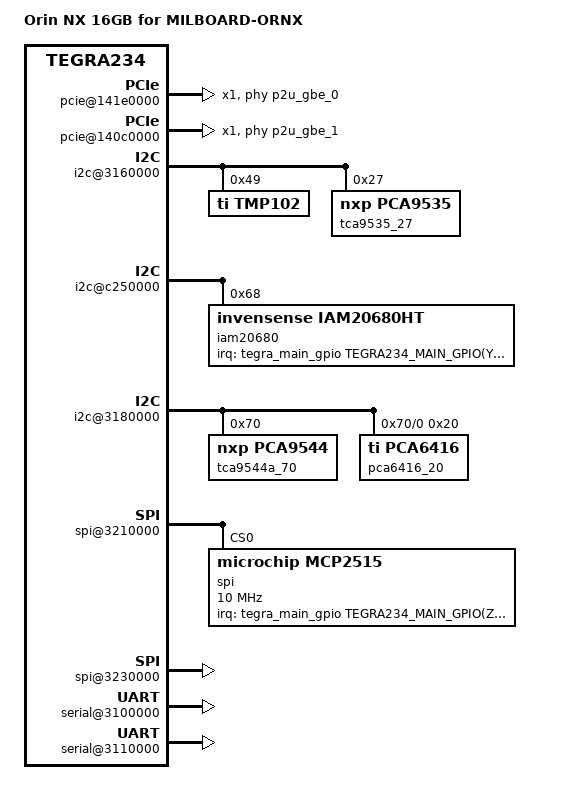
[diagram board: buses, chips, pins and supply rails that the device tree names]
/*
 * Top level DTS file for CVM:P3767-0000 and CVB:MILBOARD-ORNX.
 *
 * Copyright (c) 2021-2022, NVIDIA CORPORATION.  All rights reserved.
 *
 * This program is free software; you can redistribute it and/or modify
 * it under the terms of the GNU General Public License as published by
 * the Free Software Foundation; version 2 of the License.
 *
 * This program is distributed in the hope that it will be useful, but WITHOUT
 * ANY WARRANTY; without even the implied warranty of MERCHANTABILITY or
 * FITNESS FOR A PARTICULAR PURPOSE.  See the GNU General Public License for
 * more details.
 */

/dts-v1/;

#include "tegra234-dcb-p3767-0000-hdmi.dtsi"
#include <tegra234-soc/mods-simple-bus.dtsi>
#include <t234-common-cvm/tegra234-thermal.dtsi>
#include <t234-common-cvm/tegra234-cpuidle.dtsi>
#include <t234-common-cvm/tegra234-thermal-cooling.dtsi>
#include <t234-common-cvm/tegra234-thermal-userspace-alert.dtsi>
#include "cvm/tegra234-p3767-0000.dtsi"
#include "cvb/tegra234-p3768-0000-a0-milboard.dtsi"

/ {
	nvidia,dtsfilename = __FILE__;
	nvidia,dtbbuildtime = __DATE__, __TIME__;
	compatible = "nvidia,p3768-0000+p3767-0000", "nvidia,tegra234", "nvidia,tegra23x";
	model = "Orin NX 16GB for MILBOARD-ORNX";

	fixed-regulators {
		regulator@102 { //p3768_vdd_1v8
			//vin-supply = <&p3768_vdd_3v3_sys>;
			/delete-property/ vin-supply;
		};
	};

	pcie@141e0000 { /* C7x1 node */
		status = "okay";
		num-lanes = <1>;
		phys = <&p2u_gbe_0>;
		phy-names = "p2u-0";
	};

	pcie@140c0000 { /* C9x1 node */
		status = "okay";
		num-lanes = <1>;
		phys = <&p2u_gbe_1>;
		phy-names = "p2u-0";
	};

	i2c@3160000 {
		// EEPROM CAT24C04WI-GT3 - 0x56

		tmp102: tmp102@49 { // Temperature Sensor
			compatible = "ti,tmp102";
			reg = <0x49>;
			#thermal-sensor-cells = <0>;
		};

		tca9535_27: tca9535@27 {
			compatible = "nxp,pca9535";
			reg = <0x27>;
			gpio-controller;
			#gpio-cells = <2>;
			gpio-line-names = 
			    "SERIAL_CH0.DE",
			    "SERIAL_CH0.SHDN#",
			    "SERIAL_CH0.SLEW#",
			    "SERIAL_CH0.TERM",
			    "SERIAL_CH0.RS485/RS232#",
			    "SERIAL_CH0.HALF/FULL#",
			    "SERIAL_CH0.RE#",
			    "CAN0_TERM_SEL_N",
			    "SERIAL_CH1.DE",
			    "SERIAL_CH1.SHDN#",
			    "SERIAL_CH1.SLEW#",
			    "SERIAL_CH1.TERM",
			    "SERIAL_CH1.RS485/RS232#",
			    "SERIAL_CH1.HALF/FULL#",
			    "SERIAL_CH1.RE#",
			    "CAN1_TERM_SEL_N";

			/*
			ioexpander_outlow {
				gpio-hog;
				gpios = <3 0 4 0 5 0 6 0 7 0 11 0 12 0 13 0 14 0 15 0>;
				output-low;
			};

			ioexpander_outhigh {
				gpio-hog;
				gpios = <0 0 1 0 2 0 8 0 9 0 10 0>;
				output-high;
			};
			*/
		};
	};

	i2c@c250000 {
		iam20680@68 {
			compatible = "invensense,iam20680ht";
			reg = <0x68>;
			interrupt-parent = <&tegra_main_gpio>;
			interrupts = <TEGRA234_MAIN_GPIO(Y, 6) IRQ_TYPE_LEVEL_LOW>; //Unused pin
		};
	};

	i2c@3180000 {
		tca9544a_70: tca9544a@70 {
			status = "okay";
			compatible = "nxp,pca9544";
			reg = <0x70>;
			#address-cells = <1>;
			#size-cells = <0>;
			//i2c-mux-idle-disconnect;
			//idle-state = <1>;
			//skip_mux_detect = "yes";

			i2c@0 {
				status = "okay";
				reg = <0>;
				i2c-mux,deselect-on-exit;
				#address-cells = <1>;
				#size-cells = <0>;

				pca6416_20: pca6416@20 {
					compatible = "ti,pca6416";
					reg = <0x20>;
					gpio-controller;
					#gpio-cells = <2>;
					gpio-line-names = 
					    "CAM_FRSYNC1",
					    "CAM_FRSYNC2",
					    "CAM_FRSYNC3",
					    "CAM_FRSYNC4",
					    "CAM_ERROR1",
					    "CAM_ERROR2",
					    "CAM_ERROR3",
					    "CAM_ERROR4",
					    "CAM_INT1",
					    "CAM_INT2",
					    "CAM_INT3",
					    "CAM_INT4",
					    "CAM0_RST",
					    "CAM1_RST",
					    "CAM_TE_RSV",
					    "CAM_VDD_SYS_EN";

					/*
					ioexpander_outlow {
						gpio-hog;
						gpios = <0 0 1 0 2 0 3 0 12 0 13 0 14 0>;
						output-low;
					};

					ioexpander_outhigh {
						gpio-hog;
						gpios = <15 0>;
						output-high;
					};

					ioexpander_input {
						gpio-hog;
						gpios = <4 0 5 0 6 0 7 0 8 0 9 0 10 0 11 0>;
						input;
					};
					*/
				};
			};
			i2c@1 {
				status = "okay";
				reg = <1>;
				i2c-mux,deselect-on-exit;
				#address-cells = <1>;
				#size-cells = <0>;
			};
			i2c@2 {
				status = "okay";
				reg = <2>;
				i2c-mux,deselect-on-exit;
				#address-cells = <1>;
				#size-cells = <0>;
			};
			i2c@3 {
				status = "okay";
				reg = <3>;
				i2c-mux,deselect-on-exit;
				#address-cells = <1>;
				#size-cells = <0>;
			};
		};
	};

	clocks {
		can_clock: can_clock {
			compatible = "fixed-clock";
			#clock-cells = <0>;
			clock-frequency = <20000000>;
			clock-accuracy = <100>;
		};
	};
	spi@3210000{ // SPI0 with CS0 for SPI2CAN
		status = "okay";
		nvidia,clock-always-on;
		spi@0 {
			status = "okay";
			compatible = "microchip,mcp2515";
			reg = <0x0>;
			spi-max-frequency = <10000000>;
			nvidia,enable-hw-based-cs;
			nvidia,rx-clk-tap-delay = <0x7>;
			clocks = <&can_clock>;
			interrupt-parent = <&tegra_main_gpio>;
			interrupts = <TEGRA234_MAIN_GPIO(Z, 7) IRQ_TYPE_EDGE_FALLING>;
		};
		spi@1 {
			status = "disabled";
		};
	};
	spi@3230000{
		status = "okay";
	};


	serial@3100000 { // UART1 (uarta) RS232/422/485 Channel-1
		status = "okay";
	};

	serial@3110000 { // UART0 (uartb) RS232/422/485 Channel-0
		status = "okay";
	};

};
